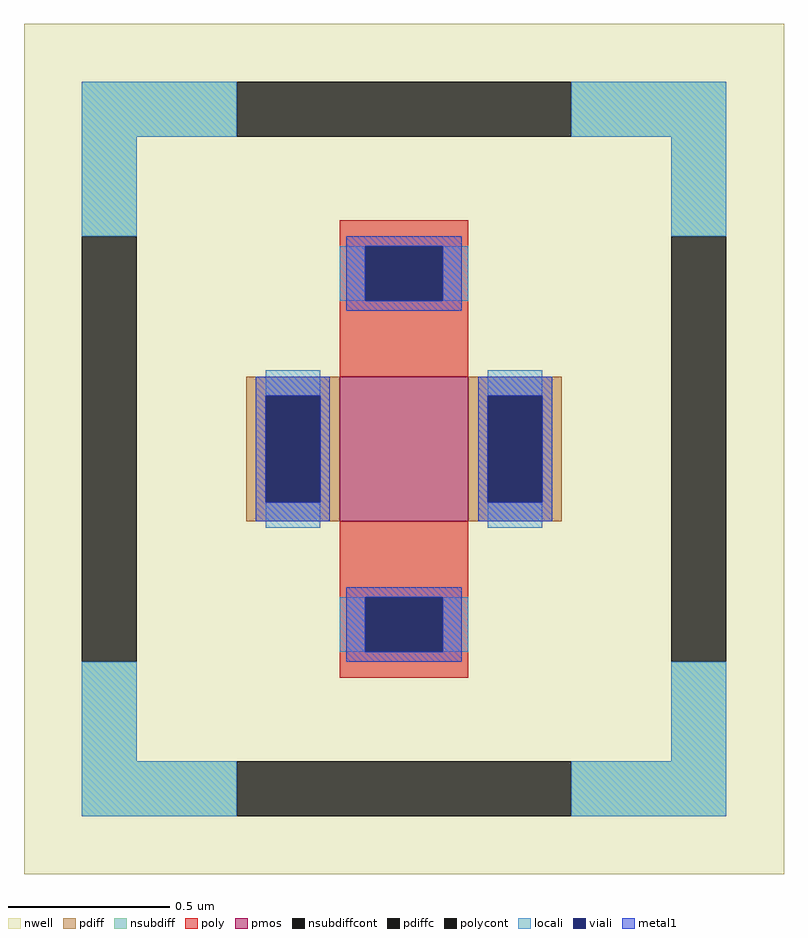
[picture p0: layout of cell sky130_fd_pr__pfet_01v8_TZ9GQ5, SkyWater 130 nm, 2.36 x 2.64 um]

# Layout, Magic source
magic
tech sky130A
magscale 1 2
<< nwell >>
rect -236 -264 236 264
<< pmos >>
rect -40 -45 40 45
<< pdiff >>
rect -98 33 -40 45
rect -98 -33 -86 33
rect -52 -33 -40 33
rect -98 -45 -40 -33
rect 40 33 98 45
rect 40 -33 52 33
rect 86 -33 98 33
rect 40 -45 98 -33
<< pdiffc >>
rect -86 -33 -52 33
rect 52 -33 86 33
<< nsubdiff >>
rect -200 194 -104 228
rect 104 194 200 228
rect -200 132 -166 194
rect 166 132 200 194
rect -200 -194 -166 -132
rect 166 -194 200 -132
rect -200 -228 -104 -194
rect 104 -228 200 -194
<< nsubdiffcont >>
rect -104 194 104 228
rect -200 -132 -166 132
rect 166 -132 200 132
rect -104 -228 104 -194
<< poly >>
rect -40 126 40 142
rect -40 92 -24 126
rect 24 92 40 126
rect -40 45 40 92
rect -40 -92 40 -45
rect -40 -126 -24 -92
rect 24 -126 40 -92
rect -40 -142 40 -126
<< polycont >>
rect -24 92 24 126
rect -24 -126 24 -92
<< locali >>
rect -200 194 -104 228
rect 104 194 200 228
rect -200 132 -166 194
rect 166 132 200 194
rect -40 92 -24 126
rect 24 92 40 126
rect -86 33 -52 49
rect -86 -49 -52 -33
rect 52 33 86 49
rect 52 -49 86 -33
rect -40 -126 -24 -92
rect 24 -126 40 -92
rect -200 -194 -166 -132
rect 166 -194 200 -132
rect -200 -228 -104 -194
rect 104 -228 200 -194
<< viali >>
rect -24 92 24 126
rect -86 -33 -52 33
rect 52 -33 86 33
rect -24 -126 24 -92
<< metal1 >>
rect -36 126 36 132
rect -36 92 -24 126
rect 24 92 36 126
rect -36 86 36 92
rect -92 33 -46 45
rect -92 -33 -86 33
rect -52 -33 -46 33
rect -92 -45 -46 -33
rect 46 33 92 45
rect 46 -33 52 33
rect 86 -33 92 33
rect 46 -45 92 -33
rect -36 -92 36 -86
rect -36 -126 -24 -92
rect 24 -126 36 -92
rect -36 -132 36 -126
<< properties >>
string FIXED_BBOX -183 -211 183 211
string gencell sky130_fd_pr__pfet_01v8
string library sky130
string parameters w 0.45 l 0.4 m 1 nf 1 diffcov 100 polycov 100 guard 1 glc 1 grc 1 gtc 1 gbc 1 tbcov 100 rlcov 100 topc 1 botc 1 poverlap 0 doverlap 1 lmin 0.15 wmin 0.42 compatible {sky130_fd_pr__pfet_01v8  sky130_fd_pr__pfet_01v8_lvt sky130_fd_pr__pfet_01v8_hvt  sky130_fd_pr__pfet_g5v0d10v5} full_metal 1 viasrc 100 viadrn 100 viagate 100 viagb 0 viagr 0 viagl 0 viagt 0
<< end >>
